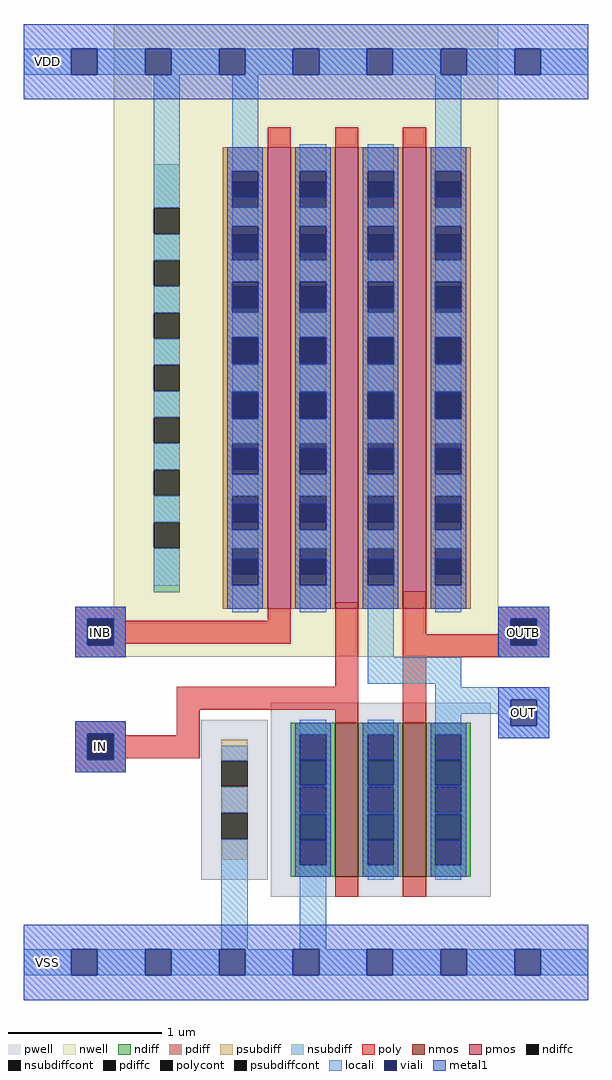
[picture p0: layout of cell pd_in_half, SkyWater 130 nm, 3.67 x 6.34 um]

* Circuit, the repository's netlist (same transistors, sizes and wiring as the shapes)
* NGSPICE file created from pd_in_half.ext - technology: sky130A

.subckt sky130_fd_pr__pfet_01v8_5EUKDE a_n73_n300# w_n109_n362# a_15_n300# a_n15_n326#
X0 a_15_n300# a_n15_n326# a_n73_n300# w_n109_n362# sky130_fd_pr__pfet_01v8 ad=0.87 pd=6.58 as=0.87 ps=6.58 w=3 l=0.15
.ends

.subckt sky130_fd_pr__nfet_01v8_QQ7V57 a_n73_n100# a_15_n100# a_n15_n126# VSUBS
X0 a_15_n100# a_n15_n126# a_n73_n100# VSUBS sky130_fd_pr__nfet_01v8 ad=0.29 pd=2.58 as=0.29 ps=2.58 w=1 l=0.15
.ends

.subckt pd_in_half OUT VDD VSS INB IN OUTB
Xsky130_fd_pr__pfet_01v8_5EUKDE_0 OUT VDD VDD OUTB sky130_fd_pr__pfet_01v8_5EUKDE
Xsky130_fd_pr__pfet_01v8_5EUKDE_1 sky130_fd_pr__pfet_01v8_5EUKDE_2/a_15_n300# VDD
+ OUT IN sky130_fd_pr__pfet_01v8_5EUKDE
Xsky130_fd_pr__pfet_01v8_5EUKDE_2 VDD VDD sky130_fd_pr__pfet_01v8_5EUKDE_2/a_15_n300#
+ INB sky130_fd_pr__pfet_01v8_5EUKDE
Xsky130_fd_pr__nfet_01v8_QQ7V57_0 VSS sky130_fd_pr__nfet_01v8_QQ7V57_0/a_15_n100#
+ IN VSS sky130_fd_pr__nfet_01v8_QQ7V57
Xsky130_fd_pr__nfet_01v8_QQ7V57_1 sky130_fd_pr__nfet_01v8_QQ7V57_0/a_15_n100# OUT
+ OUTB VSS sky130_fd_pr__nfet_01v8_QQ7V57
.ends

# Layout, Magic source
magic
tech sky130A
magscale 1 2
<< nwell >>
rect 213 707 713 827
rect 213 5 319 707
<< pwell >>
rect 327 -285 413 -77
<< psubdiff >>
rect 353 -130 387 -103
rect 353 -198 387 -164
rect 353 -259 387 -232
<< nsubdiff >>
rect 265 588 299 645
rect 265 520 299 554
rect 265 452 299 486
rect 265 384 299 418
rect 265 316 299 350
rect 265 248 299 282
rect 265 180 299 214
rect 265 89 299 146
<< psubdiffcont >>
rect 353 -164 387 -130
rect 353 -232 387 -198
<< nsubdiffcont >>
rect 265 554 299 588
rect 265 486 299 520
rect 265 418 299 452
rect 265 350 299 384
rect 265 282 299 316
rect 265 214 299 248
rect 265 146 299 180
<< poly >>
rect 163 54 229 70
rect 163 20 179 54
rect 213 52 229 54
rect 413 52 443 58
rect 213 22 443 52
rect 213 20 229 22
rect 163 4 229 20
rect 501 -34 531 76
rect 295 -64 531 -34
rect 589 34 619 90
rect 713 54 779 70
rect 713 34 729 54
rect 589 20 729 34
rect 763 20 779 54
rect 589 4 779 20
rect 589 -55 619 4
rect 163 -95 229 -79
rect 163 -129 179 -95
rect 213 -97 229 -95
rect 295 -97 325 -64
rect 501 -77 531 -64
rect 213 -127 325 -97
rect 213 -129 229 -127
rect 163 -145 229 -129
<< polycont >>
rect 179 20 213 54
rect 729 20 763 54
rect 179 -129 213 -95
<< locali >>
rect 96 761 158 795
rect 192 761 254 795
rect 288 761 350 795
rect 384 761 446 795
rect 480 761 542 795
rect 576 761 638 795
rect 672 761 734 795
rect 768 761 830 795
rect 265 588 299 761
rect 367 636 401 761
rect 631 671 665 761
rect 265 520 299 554
rect 265 452 299 486
rect 265 384 299 418
rect 265 316 299 350
rect 265 248 299 282
rect 265 180 299 214
rect 265 97 299 146
rect 163 54 229 70
rect 163 20 179 54
rect 213 20 229 54
rect 163 4 229 20
rect 543 4 577 67
rect 713 54 779 70
rect 713 20 729 54
rect 763 20 779 54
rect 713 4 779 20
rect 543 -30 665 4
rect 631 -35 665 -30
rect 631 -51 779 -35
rect 631 -69 729 -51
rect 163 -95 229 -79
rect 631 -81 665 -69
rect 163 -129 179 -95
rect 213 -129 229 -95
rect 713 -85 729 -69
rect 763 -85 779 -51
rect 713 -101 779 -85
rect 163 -145 229 -129
rect 353 -130 387 -111
rect 353 -198 387 -164
rect 353 -375 387 -232
rect 455 -375 489 -285
rect 96 -409 158 -375
rect 192 -409 254 -375
rect 288 -409 350 -375
rect 384 -409 446 -375
rect 480 -409 542 -375
rect 576 -409 638 -375
rect 672 -409 734 -375
rect 768 -409 830 -375
<< viali >>
rect 158 761 192 795
rect 254 761 288 795
rect 350 761 384 795
rect 446 761 480 795
rect 542 761 576 795
rect 638 761 672 795
rect 734 761 768 795
rect 179 20 213 54
rect 729 20 763 54
rect 179 -129 213 -95
rect 729 -85 763 -51
rect 158 -409 192 -375
rect 254 -409 288 -375
rect 350 -409 384 -375
rect 446 -409 480 -375
rect 542 -409 576 -375
rect 638 -409 672 -375
rect 734 -409 768 -375
<< metal1 >>
rect 96 795 830 827
rect 96 761 158 795
rect 192 761 254 795
rect 288 761 350 795
rect 384 761 446 795
rect 480 761 542 795
rect 576 761 638 795
rect 672 761 734 795
rect 768 761 830 795
rect 96 729 830 761
rect 163 54 229 70
rect 163 20 179 54
rect 213 20 229 54
rect 163 4 229 20
rect 713 54 779 70
rect 713 20 729 54
rect 763 20 779 54
rect 713 4 779 20
rect 713 -51 779 -35
rect 163 -95 229 -79
rect 163 -129 179 -95
rect 213 -129 229 -95
rect 713 -85 729 -51
rect 763 -85 779 -51
rect 713 -101 779 -85
rect 163 -145 229 -129
rect 96 -375 830 -343
rect 96 -409 158 -375
rect 192 -409 254 -375
rect 288 -409 350 -375
rect 384 -409 446 -375
rect 480 -409 542 -375
rect 576 -409 638 -375
rect 672 -409 734 -375
rect 768 -409 830 -375
rect 96 -441 830 -409
use sky130_fd_pr__nfet_01v8_QQ7V57  sky130_fd_pr__nfet_01v8_QQ7V57_0
transform 1 0 516 0 1 -181
box -99 -126 99 126
use sky130_fd_pr__nfet_01v8_QQ7V57  sky130_fd_pr__nfet_01v8_QQ7V57_1
transform 1 0 604 0 1 -181
box -99 -126 99 126
use sky130_fd_pr__pfet_01v8_5EUKDE  sky130_fd_pr__pfet_01v8_5EUKDE_0
transform 1 0 604 0 1 367
box -109 -362 109 362
use sky130_fd_pr__pfet_01v8_5EUKDE  sky130_fd_pr__pfet_01v8_5EUKDE_1
transform 1 0 516 0 1 367
box -109 -362 109 362
use sky130_fd_pr__pfet_01v8_5EUKDE  sky130_fd_pr__pfet_01v8_5EUKDE_2
transform 1 0 428 0 1 367
box -109 -362 109 362
<< labels >>
flabel metal1 s 729 -85 763 -51 0 FreeSans 500 0 0 0 OUT
port 1 nsew
flabel metal1 s 96 729 158 827 0 FreeSans 500 0 0 0 VDD
port 2 nsew
flabel metal1 s 96 -441 158 -343 0 FreeSans 500 0 0 0 VSS
port 3 nsew
flabel metal1 s 179 20 213 54 0 FreeSans 500 0 0 0 INB
port 4 nsew
flabel metal1 s 179 -129 213 -95 0 FreeSans 500 0 0 0 IN
port 5 nsew
flabel metal1 s 729 20 763 54 0 FreeSans 500 0 0 0 OUTB
port 6 nsew
<< end >>

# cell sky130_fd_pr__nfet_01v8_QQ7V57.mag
magic
tech sky130A
magscale 1 2
<< pwell >>
rect -99 -126 99 126
<< nmos >>
rect -15 -100 15 100
<< ndiff >>
rect -73 85 -15 100
rect -73 51 -61 85
rect -27 51 -15 85
rect -73 17 -15 51
rect -73 -17 -61 17
rect -27 -17 -15 17
rect -73 -51 -15 -17
rect -73 -85 -61 -51
rect -27 -85 -15 -51
rect -73 -100 -15 -85
rect 15 85 73 100
rect 15 51 27 85
rect 61 51 73 85
rect 15 17 73 51
rect 15 -17 27 17
rect 61 -17 73 17
rect 15 -51 73 -17
rect 15 -85 27 -51
rect 61 -85 73 -51
rect 15 -100 73 -85
<< ndiffc >>
rect -61 51 -27 85
rect -61 -17 -27 17
rect -61 -85 -27 -51
rect 27 51 61 85
rect 27 -17 61 17
rect 27 -85 61 -51
<< poly >>
rect -15 100 15 126
rect -15 -126 15 -100
<< locali >>
rect -61 85 -27 104
rect -61 17 -27 19
rect -61 -19 -27 -17
rect -61 -104 -27 -85
rect 27 85 61 104
rect 27 17 61 19
rect 27 -19 61 -17
rect 27 -104 61 -85
<< viali >>
rect -61 51 -27 53
rect -61 19 -27 51
rect -61 -51 -27 -19
rect -61 -53 -27 -51
rect 27 51 61 53
rect 27 19 61 51
rect 27 -51 61 -19
rect 27 -53 61 -51
<< metal1 >>
rect -67 53 -21 100
rect -67 19 -61 53
rect -27 19 -21 53
rect -67 -19 -21 19
rect -67 -53 -61 -19
rect -27 -53 -21 -19
rect -67 -100 -21 -53
rect 21 53 67 100
rect 21 19 27 53
rect 61 19 67 53
rect 21 -19 67 19
rect 21 -53 27 -19
rect 61 -53 67 -19
rect 21 -100 67 -53
<< end >>

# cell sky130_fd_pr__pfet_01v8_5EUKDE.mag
magic
tech sky130A
magscale 1 2
<< nwell >>
rect -109 -362 109 362
<< pmos >>
rect -15 -300 15 300
<< pdiff >>
rect -73 255 -15 300
rect -73 221 -61 255
rect -27 221 -15 255
rect -73 187 -15 221
rect -73 153 -61 187
rect -27 153 -15 187
rect -73 119 -15 153
rect -73 85 -61 119
rect -27 85 -15 119
rect -73 51 -15 85
rect -73 17 -61 51
rect -27 17 -15 51
rect -73 -17 -15 17
rect -73 -51 -61 -17
rect -27 -51 -15 -17
rect -73 -85 -15 -51
rect -73 -119 -61 -85
rect -27 -119 -15 -85
rect -73 -153 -15 -119
rect -73 -187 -61 -153
rect -27 -187 -15 -153
rect -73 -221 -15 -187
rect -73 -255 -61 -221
rect -27 -255 -15 -221
rect -73 -300 -15 -255
rect 15 255 73 300
rect 15 221 27 255
rect 61 221 73 255
rect 15 187 73 221
rect 15 153 27 187
rect 61 153 73 187
rect 15 119 73 153
rect 15 85 27 119
rect 61 85 73 119
rect 15 51 73 85
rect 15 17 27 51
rect 61 17 73 51
rect 15 -17 73 17
rect 15 -51 27 -17
rect 61 -51 73 -17
rect 15 -85 73 -51
rect 15 -119 27 -85
rect 61 -119 73 -85
rect 15 -153 73 -119
rect 15 -187 27 -153
rect 61 -187 73 -153
rect 15 -221 73 -187
rect 15 -255 27 -221
rect 61 -255 73 -221
rect 15 -300 73 -255
<< pdiffc >>
rect -61 221 -27 255
rect -61 153 -27 187
rect -61 85 -27 119
rect -61 17 -27 51
rect -61 -51 -27 -17
rect -61 -119 -27 -85
rect -61 -187 -27 -153
rect -61 -255 -27 -221
rect 27 221 61 255
rect 27 153 61 187
rect 27 85 61 119
rect 27 17 61 51
rect 27 -51 61 -17
rect 27 -119 61 -85
rect 27 -187 61 -153
rect 27 -255 61 -221
<< poly >>
rect -15 300 15 326
rect -15 -326 15 -300
<< locali >>
rect -61 269 -27 304
rect -61 197 -27 221
rect -61 125 -27 153
rect -61 53 -27 85
rect -61 -17 -27 17
rect -61 -85 -27 -53
rect -61 -153 -27 -125
rect -61 -221 -27 -197
rect -61 -304 -27 -269
rect 27 269 61 304
rect 27 197 61 221
rect 27 125 61 153
rect 27 53 61 85
rect 27 -17 61 17
rect 27 -85 61 -53
rect 27 -153 61 -125
rect 27 -221 61 -197
rect 27 -304 61 -269
<< viali >>
rect -61 255 -27 269
rect -61 235 -27 255
rect -61 187 -27 197
rect -61 163 -27 187
rect -61 119 -27 125
rect -61 91 -27 119
rect -61 51 -27 53
rect -61 19 -27 51
rect -61 -51 -27 -19
rect -61 -53 -27 -51
rect -61 -119 -27 -91
rect -61 -125 -27 -119
rect -61 -187 -27 -163
rect -61 -197 -27 -187
rect -61 -255 -27 -235
rect -61 -269 -27 -255
rect 27 255 61 269
rect 27 235 61 255
rect 27 187 61 197
rect 27 163 61 187
rect 27 119 61 125
rect 27 91 61 119
rect 27 51 61 53
rect 27 19 61 51
rect 27 -51 61 -19
rect 27 -53 61 -51
rect 27 -119 61 -91
rect 27 -125 61 -119
rect 27 -187 61 -163
rect 27 -197 61 -187
rect 27 -255 61 -235
rect 27 -269 61 -255
<< metal1 >>
rect -67 269 -21 300
rect -67 235 -61 269
rect -27 235 -21 269
rect -67 197 -21 235
rect -67 163 -61 197
rect -27 163 -21 197
rect -67 125 -21 163
rect -67 91 -61 125
rect -27 91 -21 125
rect -67 53 -21 91
rect -67 19 -61 53
rect -27 19 -21 53
rect -67 -19 -21 19
rect -67 -53 -61 -19
rect -27 -53 -21 -19
rect -67 -91 -21 -53
rect -67 -125 -61 -91
rect -27 -125 -21 -91
rect -67 -163 -21 -125
rect -67 -197 -61 -163
rect -27 -197 -21 -163
rect -67 -235 -21 -197
rect -67 -269 -61 -235
rect -27 -269 -21 -235
rect -67 -300 -21 -269
rect 21 269 67 300
rect 21 235 27 269
rect 61 235 67 269
rect 21 197 67 235
rect 21 163 27 197
rect 61 163 67 197
rect 21 125 67 163
rect 21 91 27 125
rect 61 91 67 125
rect 21 53 67 91
rect 21 19 27 53
rect 61 19 67 53
rect 21 -19 67 19
rect 21 -53 27 -19
rect 61 -53 67 -19
rect 21 -91 67 -53
rect 21 -125 27 -91
rect 61 -125 67 -91
rect 21 -163 67 -125
rect 21 -197 27 -163
rect 61 -197 67 -163
rect 21 -235 67 -197
rect 21 -269 27 -235
rect 61 -269 67 -235
rect 21 -300 67 -269
<< end >>
